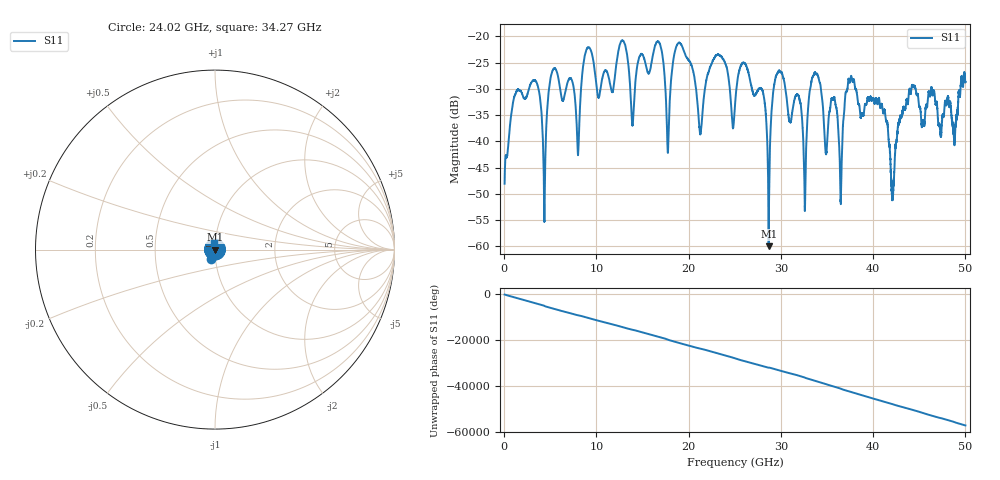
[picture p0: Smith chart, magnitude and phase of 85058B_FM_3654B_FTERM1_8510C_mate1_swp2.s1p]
!Created with skrf (http://scikit-rf.org).
# Hz S RI R 50.0
!freq ReS11 ImS11
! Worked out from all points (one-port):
!   10001 points, 45 MHz to 50 GHz, reference 50 ohm
!   lowest |S11| = -60.0 dB at 28.67 GHz (marker M1), VSWR 1.00, Z = 50.1 - j0.00735 ohm
!   |S11| at or under -10 dB: start of sweep to end of sweep
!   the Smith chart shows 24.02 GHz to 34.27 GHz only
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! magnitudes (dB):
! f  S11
! 45 MHz  -48.1
! 1.359 GHz  -30.3
! 3.522 GHz  -28.8
! 4.346 GHz  -55.4
! 5.17 GHz  -26.9
! 6.289 GHz  -32.2
! 7.993 GHz  -42.4
! 8.962 GHz  -22.4
! 12.53 GHz  -21.5
! 13.92 GHz  -37.0
! 16.78 GHz  -21.1
! 17.75 GHz  -42.2
! 18.78 GHz  -21.5
! 21.25 GHz  -38.7
! 23.06 GHz  -23.5
! 25.02 GHz  -33.1
! 27.89 GHz  -30.0
! 28.67 GHz  -60.0
! 29.6 GHz  -27.1
! 31.27 GHz  -34.0
! 32.61 GHz  -52.6
! 33.85 GHz  -27.2
! 36.47 GHz  -50.9
! 37.51 GHz  -28.5
! 41.09 GHz  -34.5
! 42.09 GHz  -50.3
! 43.76 GHz  -32.7
! 50 GHz  -28.8
